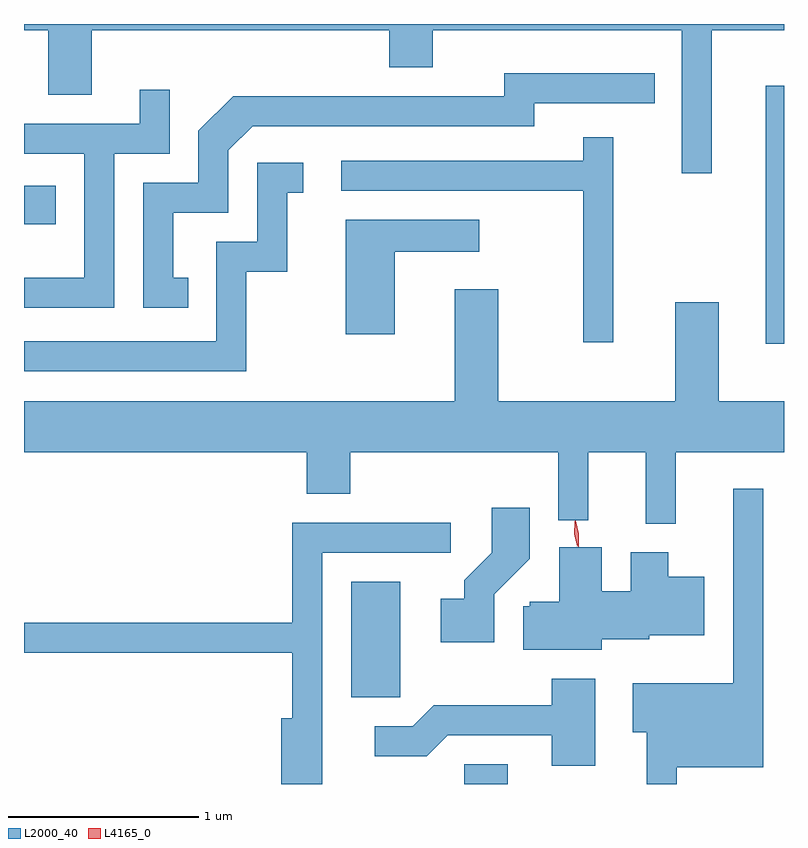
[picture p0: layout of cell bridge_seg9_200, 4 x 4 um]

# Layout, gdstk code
import gdstk
lib = gdstk.Library(unit=1e-6, precision=1e-09)
def R(c, l, rs):  # rectangles x0, y0, x1, y1
    for r in rs: c.add(gdstk.rectangle(r[:2], r[2:], *l))
def P(c, l, *ps):  # polygons
    for p in ps: c.add(gdstk.Polygon(p, *l))
L2000_40 = (2000, 40)
L4165_0 = (4165, 0)

bridge_seg9_200 = lib.new_cell('bridge_seg9_200')
R(bridge_seg9_200, L2000_40, [(1123.131,1958.989,1123.359,1959.094), (1122.536,1959.446,1122.794,1960.054), (1124.716,1961.306,1124.813,1962.664), (1120.813,1961.936,1120.979,1962.139)])
P(bridge_seg9_200, L2000_40, [(1124.434,1962.956),(1124.813,1962.956),(1124.813,1962.989),(1120.813,1962.989),(1120.813,1962.956),(1120.941,1962.956),(1120.941,1962.616),(1121.169,1962.616),(1121.169,1962.956),(1122.736,1962.956),(1122.736,1962.761),(1122.964,1962.761),(1122.964,1962.956),(1124.276,1962.956),(1124.276,1962.203),(1124.434,1962.203)],
  [(1121.678,1961.654),(1121.599,1961.654),(1121.599,1961.996),(1121.889,1961.996),(1121.889,1962.324),(1122.017,1962.451),(1123.499,1962.451),(1123.499,1962.571),(1124.133,1962.571),(1124.133,1962.729),(1123.341,1962.729),(1123.341,1962.609),(1121.914,1962.609),(1121.731,1962.427),(1121.731,1962.154),(1121.441,1962.154),(1121.441,1961.496),(1121.678,1961.496)],
  [(1121.289,1962.306),(1121.579,1962.306),(1121.579,1962.643),(1121.421,1962.643),(1121.421,1962.464),(1120.813,1962.464),(1120.813,1962.306),(1121.131,1962.306),(1121.131,1961.654),(1120.813,1961.654),(1120.813,1961.496),(1121.289,1961.496)],
  [(1123.914,1962.393),(1123.756,1962.393),(1123.756,1962.269),(1122.483,1962.269),(1122.483,1962.111),(1123.756,1962.111),(1123.756,1961.313),(1123.914,1961.313)],
  [(1121.984,1961.686),(1122.199,1961.686),(1122.199,1962.101),(1122.283,1962.101),(1122.283,1962.259),(1122.041,1962.259),(1122.041,1961.844),(1121.826,1961.844),(1121.826,1961.319),(1120.813,1961.319),(1120.813,1961.161),(1121.984,1961.161)],
  [(1122.764,1961.791),(1123.208,1961.791),(1123.208,1961.959),(1122.506,1961.959),(1122.506,1961.356),(1122.764,1961.356)],
  [(1124.244,1960.736),(1124.813,1960.736),(1124.813,1961.004),(1124.469,1961.004),(1124.469,1961.524),(1124.241,1961.524),(1124.241,1961.004),(1123.309,1961.004),(1123.309,1961.594),(1123.081,1961.594),(1123.081,1961.004),(1120.813,1961.004),(1120.813,1960.736),(1122.301,1960.736),(1122.301,1960.516),(1122.529,1960.516),(1122.529,1960.736),(1123.626,1960.736),(1123.626,1960.378),(1123.784,1960.378),(1123.784,1960.736),(1124.086,1960.736),(1124.086,1960.358),(1124.244,1960.358)],
  [(1124.249,1959.076),(1124.704,1959.076),(1124.704,1960.543),(1124.546,1960.543),(1124.546,1959.519),(1124.016,1959.519),(1124.016,1959.261),(1124.091,1959.261),(1124.091,1958.989),(1124.249,1958.989)],
  [(1123.289,1959.989),(1123.474,1960.174),(1123.474,1960.444),(1123.276,1960.444),(1123.276,1960.207),(1123.131,1960.062),(1123.131,1959.964),(1123.006,1959.964),(1123.006,1959.736),(1123.289,1959.736)],
  [(1122.384,1960.206),(1123.058,1960.206),(1123.058,1960.364),(1122.226,1960.364),(1122.226,1959.839),(1120.813,1959.839),(1120.813,1959.681),(1122.226,1959.681),(1122.226,1959.334),(1122.166,1959.334),(1122.166,1958.989),(1122.384,1958.989)],
  [(1123.854,1959.751),(1124.104,1959.751),(1124.104,1959.771),(1124.394,1959.771),(1124.394,1960.079),(1124.204,1960.079),(1124.204,1960.209),(1124.006,1960.209),(1124.006,1960.004),(1123.854,1960.004),(1123.854,1960.234),(1123.631,1960.234),(1123.631,1959.949),(1123.476,1959.949),(1123.476,1959.924),(1123.441,1959.924),(1123.441,1959.696),(1123.854,1959.696)],
  [(1123.819,1959.544),(1123.591,1959.544),(1123.591,1959.404),(1122.969,1959.404),(1122.859,1959.294),(1122.658,1959.294),(1122.658,1959.136),(1122.932,1959.136),(1123.042,1959.246),(1123.591,1959.246),(1123.591,1959.086),(1123.819,1959.086)])
P(bridge_seg9_200, L4165_0, [(1123.731,1960.237),(1123.73,1960.238),(1123.713,1960.305),(1123.715,1960.375),(1123.716,1960.375),(1123.716,1960.375),(1123.733,1960.307),(1123.732,1960.238)],
  [(1123.725,1960.24),(1123.709,1960.304),(1123.712,1960.371),(1123.713,1960.371),(1123.714,1960.371),(1123.729,1960.306),(1123.726,1960.24),(1123.726,1960.24)])

lib.write_gds('bridge_seg9_200.gds')
